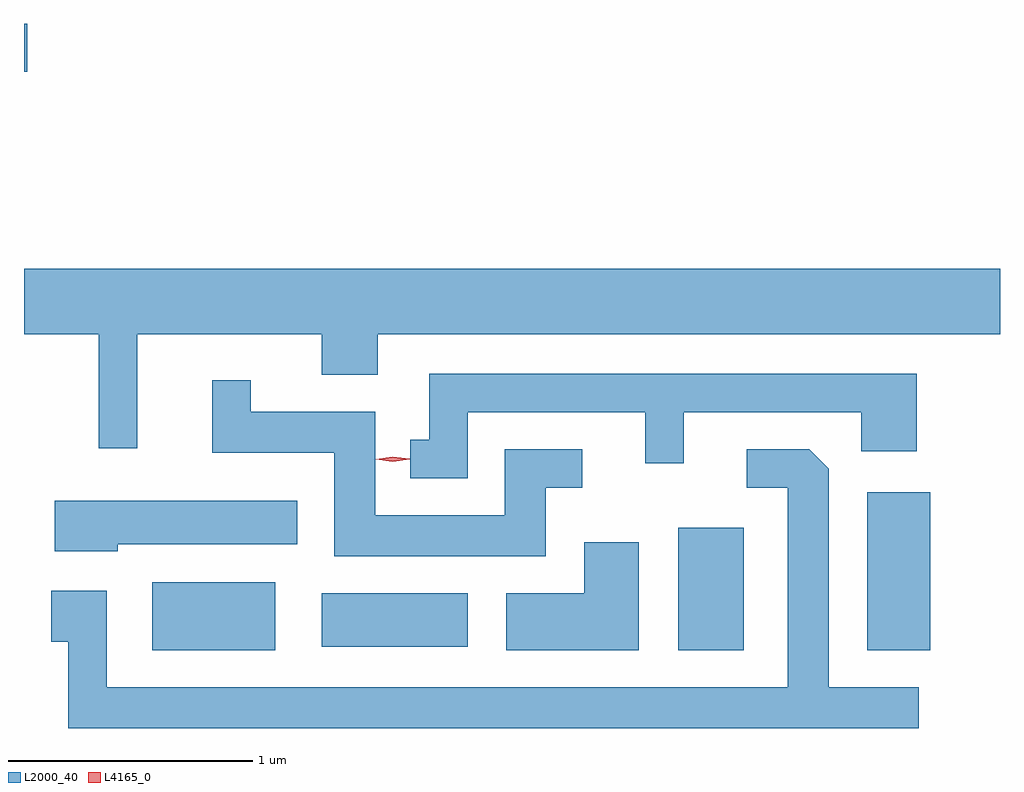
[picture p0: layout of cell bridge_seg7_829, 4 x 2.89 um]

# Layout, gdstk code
import gdstk
lib = gdstk.Library(unit=1e-6, precision=1e-09)
def R(c, l, rs):  # rectangles x0, y0, x1, y1
    for r in rs: c.add(gdstk.rectangle(r[:2], r[2:], *l))
def P(c, l, *ps):  # polygons
    for p in ps: c.add(gdstk.Polygon(p, *l))
L2000_40 = (2000, 40)
L4165_0 = (4165, 0)

bridge_seg7_829 = lib.new_cell('bridge_seg7_829')
R(bridge_seg7_829, L2000_40, [(317.416,1668.621,317.919,1668.899), (319.571,1668.621,319.839,1669.124), (320.346,1668.621,320.604,1669.269), (318.111,1668.636,318.709,1668.854), (316.89,1670.991,316.904,1671.189)])
P(bridge_seg7_829, L2000_40, [(317.354,1669.916),(318.111,1669.916),(318.111,1669.751),(318.339,1669.751),(318.339,1669.916),(320.89,1669.916),(320.89,1670.184),(316.89,1670.184),(316.89,1669.916),(317.196,1669.916),(317.196,1669.448),(317.354,1669.448)],
  [(318.709,1669.596),(319.436,1669.596),(319.436,1669.388),(319.594,1669.388),(319.594,1669.596),(320.321,1669.596),(320.321,1669.436),(320.549,1669.436),(320.549,1669.754),(318.551,1669.754),(318.551,1669.484),(318.473,1669.484),(318.473,1669.326),(318.709,1669.326)],
  [(319.029,1669.286),(319.178,1669.286),(319.178,1669.444),(318.861,1669.444),(318.861,1669.174),(318.329,1669.174),(318.329,1669.599),(317.819,1669.599),(317.819,1669.728),(317.661,1669.728),(317.661,1669.431),(318.161,1669.431),(318.161,1669.006),(319.029,1669.006)],
  [(320.558,1668.469),(320.189,1668.469),(320.189,1669.364),(320.109,1669.444),(319.853,1669.444),(319.853,1669.286),(320.021,1669.286),(320.021,1668.469),(317.229,1668.469),(317.229,1668.864),(317.001,1668.864),(317.001,1668.656),(317.071,1668.656),(317.071,1668.301),(320.558,1668.301)],
  [(317.274,1669.056),(318.009,1669.056),(318.009,1669.234),(317.016,1669.234),(317.016,1669.026),(317.274,1669.026)],
  [(319.409,1669.064),(319.186,1669.064),(319.186,1668.854),(318.866,1668.854),(318.866,1668.621),(319.409,1668.621)])
P(bridge_seg7_829, L4165_0, [(318.401,1669.394),(318.332,1669.404),(318.332,1669.404),(318.332,1669.404),(318.401,1669.414),(318.471,1669.405),(318.471,1669.405),(318.471,1669.404)])

lib.write_gds('bridge_seg7_829.gds')
